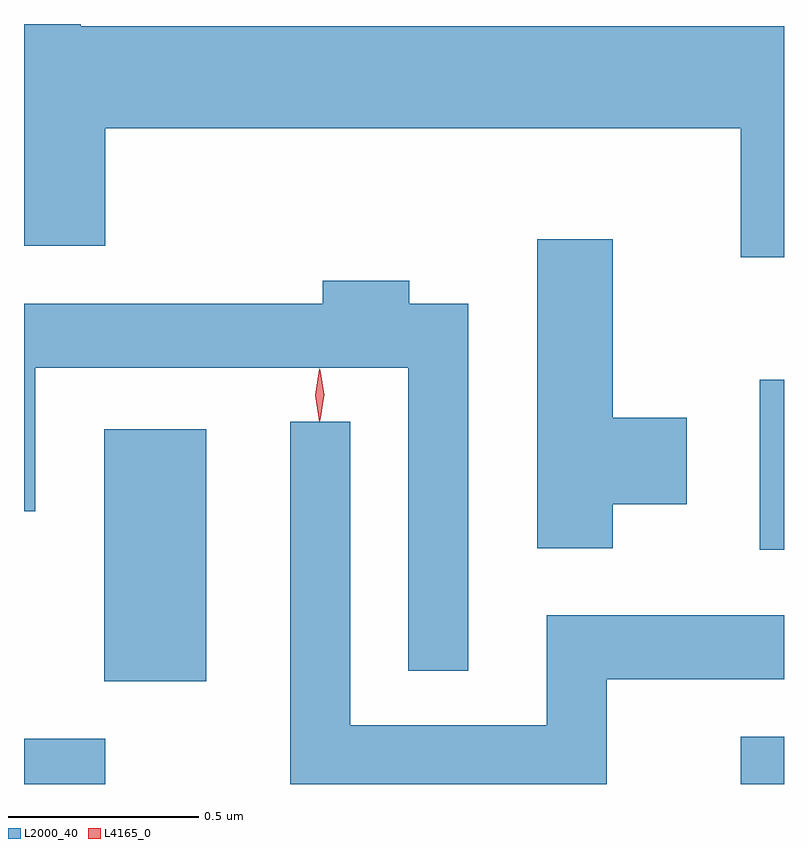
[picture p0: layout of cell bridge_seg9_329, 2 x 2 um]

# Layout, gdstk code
import gdstk
lib = gdstk.Library(unit=1e-6, precision=1e-09)
def R(c, l, rs):  # rectangles x0, y0, x1, y1
    for r in rs: c.add(gdstk.rectangle(r[:2], r[2:], *l))
def P(c, l, *ps):  # polygons
    for p in ps: c.add(gdstk.Polygon(p, *l))
L2000_40 = (2000, 40)
L4165_0 = (4165, 0)

bridge_seg9_329 = lib.new_cell('bridge_seg9_329')
R(bridge_seg9_329, L2000_40, [(968.005,2078.89,968.219,2079.009), (969.891,2078.89,970.005,2079.014), (968.216,2079.161,968.484,2079.824), (969.941,2079.506,970.005,2079.954)])
P(bridge_seg9_329, L2000_40, [(970.005,2080.884),(968.154,2080.884),(968.154,2080.89),(968.005,2080.89),(968.005,2080.306),(968.219,2080.306),(968.219,2080.616),(969.891,2080.616),(969.891,2080.276),(970.005,2080.276)],
  [(969.554,2079.626),(969.749,2079.626),(969.749,2079.854),(969.554,2079.854),(969.554,2080.324),(969.356,2080.324),(969.356,2079.511),(969.554,2079.511)],
  [(969.174,2080.154),(969.019,2080.154),(969.019,2080.214),(968.791,2080.214),(968.791,2080.154),(968.005,2080.154),(968.005,2079.608),(968.034,2079.608),(968.034,2079.986),(969.016,2079.986),(969.016,2079.188),(969.174,2079.188)],
  [(969.539,2079.166),(970.005,2079.166),(970.005,2079.334),(969.381,2079.334),(969.381,2079.044),(968.864,2079.044),(968.864,2079.843),(968.706,2079.843),(968.706,2078.89),(969.539,2078.89)])
P(bridge_seg9_329, L4165_0, [(968.782,2079.843),(968.782,2079.844),(968.772,2079.913),(968.782,2079.982),(968.782,2079.983),(968.783,2079.982),(968.792,2079.913),(968.783,2079.844)],
  [(968.784,2079.847),(968.775,2079.914),(968.784,2079.98),(968.785,2079.98),(968.785,2079.98),(968.795,2079.914),(968.785,2079.847),(968.785,2079.847)])

lib.write_gds('bridge_seg9_329.gds')
